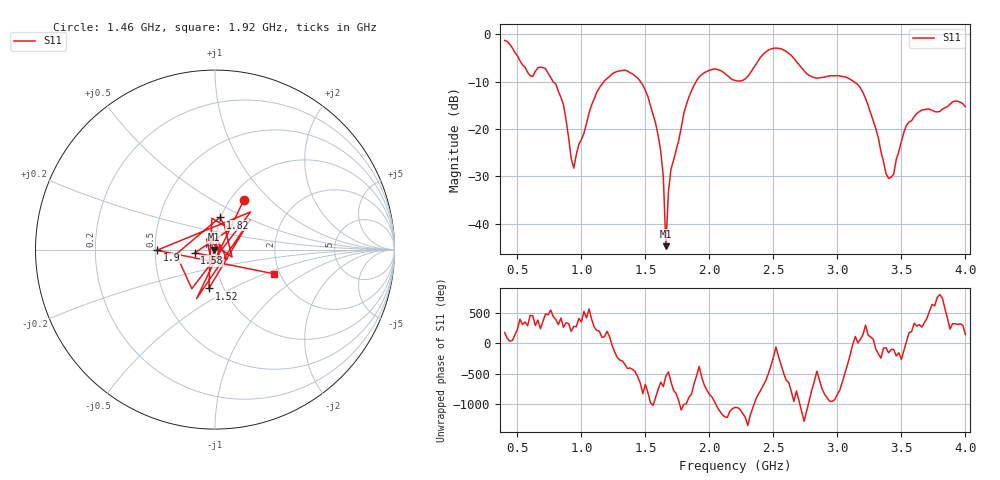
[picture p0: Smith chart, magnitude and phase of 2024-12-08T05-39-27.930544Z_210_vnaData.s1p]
!Created with skrf (http://scikit-rf.org).
# Hz S RI R 50.0
!freq ReS11 ImS11
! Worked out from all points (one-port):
!   181 points, 400 MHz to 4 GHz, reference 50 ohm
!   lowest |S11| = -44.8 dB at 1.66 GHz (marker M1), VSWR 1.01, Z = 49.4 + j0.0291 ohm
!   |S11| at or under -10 dB: 778.9 MHz to 1.175 GHz (396.1 MHz wide, 40.5 % of centre); 1.462 GHz to 1.896 GHz (433.2 MHz wide, 25.8 % of centre); 3.13 GHz to end of sweep
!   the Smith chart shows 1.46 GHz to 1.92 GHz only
!   S11 on the Smith chart (normalised r, x): 1.46 GHz: 1.15, +0.71; 1.52 GHz: 0.85, -0.39; 1.58 GHz: 0.80, -0.03; 1.82 GHz: 0.99, +0.37; 1.9 GHz: 0.51, -0.00; 1.92 GHz: 1.86, -0.57
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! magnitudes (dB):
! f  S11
! 400 MHz  -1.3
! 600 MHz  -8.7
! 720 MHz  -7.3
! 860 MHz  -14.9
! 940 MHz  -28.3
! 1.12 GHz  -12.2
! 1.3 GHz  -7.7
! 1.46 GHz  -9.9
! 1.52 GHz  -13.2
! 1.58 GHz  -18.8
! 1.64 GHz  -30.0
! 1.66 GHz  -44.8
! 1.68 GHz  -33.3
! 1.7 GHz  -28.5
! 1.76 GHz  -22.4
! 1.82 GHz  -14.8
! 1.9 GHz  -9.8
! 1.92 GHz  -9.0
! 2.2 GHz  -9.7
! 2.48 GHz  -3.1
! 2.66 GHz  -5.1
! 2.82 GHz  -9.1
! 3.1 GHz  -9.5
! 3.22 GHz  -13.5
! 3.4 GHz  -30.5
! 3.44 GHz  -29.5
! 3.56 GHz  -18.5
! 4 GHz  -15.3
